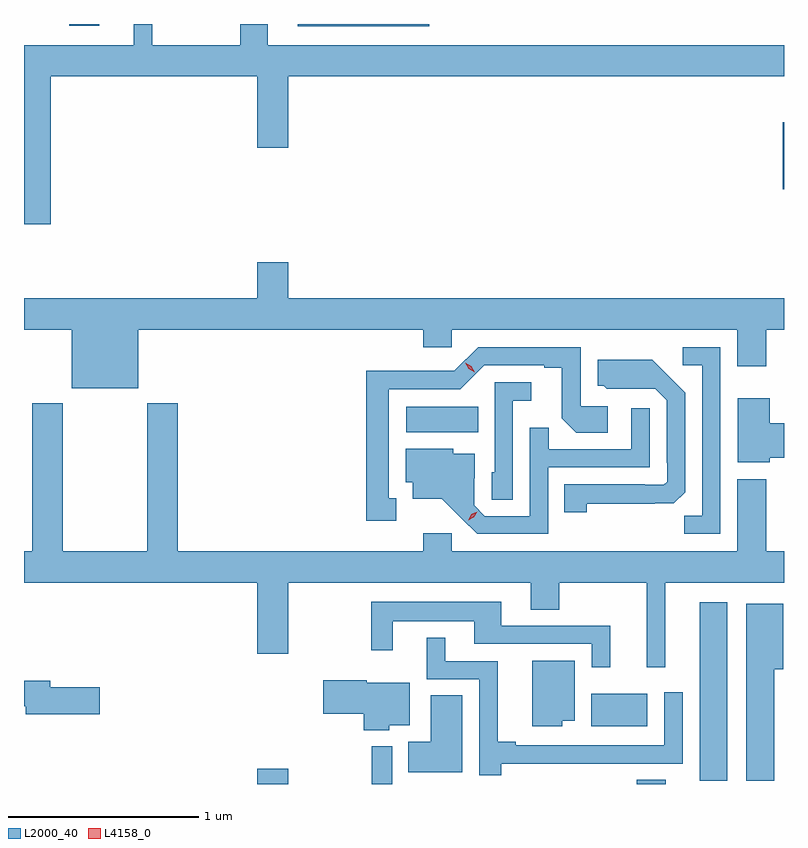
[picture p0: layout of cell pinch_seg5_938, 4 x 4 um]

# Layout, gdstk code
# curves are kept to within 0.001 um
import gdstk
lib = gdstk.Library(unit=1e-6, precision=1e-09)
def R(c, l, rs):  # rectangles x0, y0, x1, y1
    for r in rs: c.add(gdstk.rectangle(r[:2], r[2:], *l))
def P(c, l, *ps):  # polygons
    for p in ps: c.add(gdstk.Polygon(p, *l))
L2000_40 = (2000, 40)
L4158_0 = (4158, 0)

pinch_seg5_938 = lib.new_cell('pinch_seg5_938')
R(pinch_seg5_938, L2000_40, [(752.42,902.32,752.584,902.401), (753.021,902.32,753.129,902.518), (754.418,902.32,754.57,902.342), (754.748,902.337,754.894,903.277), (754.178,902.624,754.471,902.794), (753.204,904.172,753.584,904.306), (755.186,905.45,755.192,905.803), (752.633,906.308,753.325,906.32), (751.43,906.312,751.588,906.32)])
P(pinch_seg5_938, L2000_40, [(751.334,906.044),(752.42,906.044),(752.42,905.67),(752.584,905.67),(752.584,906.044),(755.192,906.044),(755.192,906.208),(752.476,906.208),(752.476,906.32),(752.329,906.32),(752.329,906.208),(751.868,906.208),(751.868,906.32),(751.769,906.32),(751.769,906.208),(751.192,906.208),(751.192,905.265),(751.334,905.265)],
  [(751.792,904.712),(753.293,904.712),(753.293,904.619),(753.444,904.619),(753.444,904.712),(754.946,904.712),(754.946,904.518),(755.099,904.518),(755.099,904.712),(755.192,904.712),(755.192,904.876),(752.584,904.876),(752.584,905.065),(752.42,905.065),(752.42,904.876),(751.192,904.876),(751.192,904.712),(751.442,904.712),(751.442,904.403),(751.792,904.403)],
  [(753.151,903.825),(753.112,903.825),(753.112,904.398),(753.489,904.398),(753.615,904.524),(753.929,904.524),(753.929,904.512),(754.023,904.512),(754.023,904.244),(754.099,904.168),(754.264,904.168),(754.264,904.308),(754.122,904.308),(754.122,904.62),(753.582,904.62),(753.456,904.494),(753.234,904.494),(753.234,904.496),(752.994,904.496),(752.994,903.705),(753.151,903.705)],
  [(754.857,904.62),(754.659,904.62),(754.659,904.524),(754.761,904.524),(754.761,903.731),(754.666,903.731),(754.666,903.636),(754.857,903.636)],
  [(754.155,903.796),(754.612,903.797),(754.671,903.856),(754.671,904.378),(754.499,904.552),(754.211,904.552),(754.211,904.416),(754.242,904.416),(754.258,904.4),(754.515,904.401),(754.575,904.341),(754.575,904.012),(754.578,904.012),(754.578,903.912),(754.56,903.894),(754.46,903.894),(754.46,903.897),(754.036,903.897),(754.036,903.75),(754.155,903.75)],
  [(753.765,904.337),(753.862,904.337),(753.862,904.434),(753.669,904.434),(753.669,903.96),(753.654,903.96),(753.654,903.817),(753.765,903.817)],
  [(755.116,904.037),(755.192,904.037),(755.192,904.22),(755.116,904.22),(755.116,904.351),(754.949,904.351),(754.949,904.013),(755.116,904.013)],
  [(754.568,903.38),(755.192,903.38),(755.192,903.544),(755.099,903.544),(755.099,903.925),(754.946,903.925),(754.946,903.544),(753.444,903.544),(753.444,903.64),(753.293,903.64),(753.293,903.544),(752,903.544),(752,904.324),(751.84,904.324),(751.84,903.544),(751.395,903.544),(751.395,904.324),(751.235,904.324),(751.235,903.544),(751.192,903.544),(751.192,903.38),(752.42,903.38),(752.42,903.006),(752.584,903.006),(752.584,903.38),(753.86,903.38),(753.86,903.238),(754.008,903.238),(754.008,903.38),(754.469,903.38),(754.469,902.934),(754.568,902.934)],
  [(753.951,903.987),(754.485,903.987),(754.485,904.297),(754.389,904.297),(754.389,904.083),(753.953,904.083),(753.953,904.196),(753.855,904.196),(753.855,903.729),(753.618,903.729),(753.561,903.786),(753.561,903.928),(753.565,903.928),(753.565,904.057),(753.45,904.057),(753.45,904.084),(753.2,904.084),(753.2,903.908),(753.239,903.908),(753.239,903.821),(753.391,903.821),(753.578,903.636),(753.951,903.636)],
  [(754.277,903.153),(753.703,903.153),(753.703,903.28),(753.019,903.28),(753.019,903.024),(753.133,903.024),(753.133,903.176),(753.563,903.176),(753.563,903.057),(754.179,903.057),(754.179,902.934),(754.277,902.934)],
  [(755.14,902.924),(755.188,902.924),(755.188,903.268),(754.994,903.268),(754.994,902.337),(755.14,902.337)],
  [(753.704,902.426),(754.334,902.426),(754.334,902.427),(754.659,902.427),(754.659,902.803),(754.563,902.803),(754.563,902.523),(753.781,902.523),(753.781,902.543),(753.686,902.543),(753.686,902.967),(753.409,902.967),(753.409,903.091),(753.311,903.091),(753.311,902.871),(753.588,902.871),(753.588,902.367),(753.704,902.367)],
  [(754.024,902.654),(754.09,902.654),(754.09,902.968),(753.866,902.968),(753.866,902.624),(754.024,902.624)],
  [(753.114,902.63),(753.223,902.63),(753.223,902.854),(752.997,902.854),(752.997,902.867),(752.766,902.867),(752.766,902.689),(752.981,902.689),(752.981,902.603),(753.114,902.603)],
  [(751.591,902.828),(751.33,902.828),(751.33,902.864),(751.192,902.864),(751.192,902.728),(751.202,902.728),(751.202,902.686),(751.591,902.686)],
  [(753.499,902.786),(753.332,902.786),(753.332,902.542),(753.214,902.542),(753.214,902.381),(753.499,902.381)])
P(pinch_seg5_938, L4158_0, [(753.529,903.708),(753.529,903.708),(753.546,903.739),(753.577,903.754),(753.577,903.754),(753.577,903.754),(753.56,903.724),(753.529,903.708)],
  [(753.564,904.486),(753.532,904.505),(753.514,904.537),(753.514,904.537),(753.514,904.537),(753.546,904.519),(753.564,904.486),(753.564,904.486)])

lib.write_gds('pinch_seg5_938.gds')
